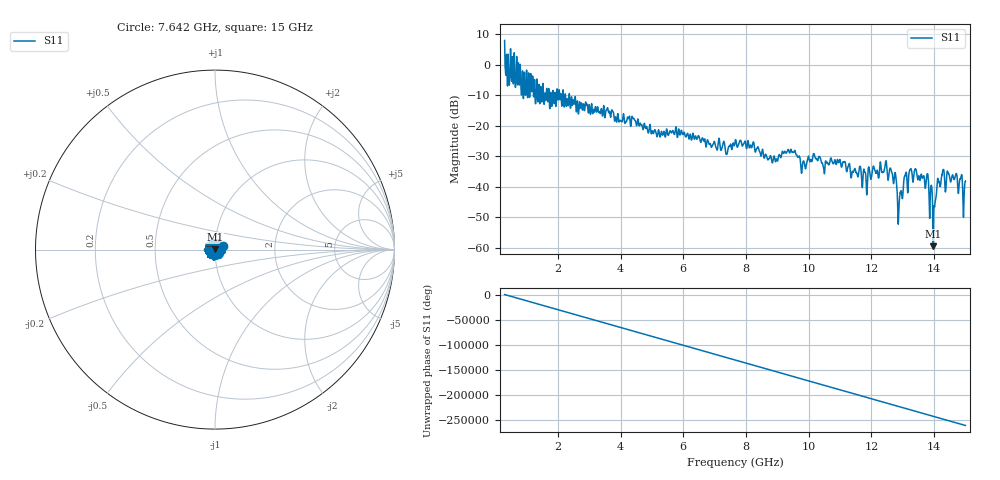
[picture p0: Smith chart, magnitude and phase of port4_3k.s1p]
# GHZ S RI R 50.0
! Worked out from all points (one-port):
!   12801 points, 300 MHz to 15 GHz, reference 50 ohm
!   lowest |S11| = -59.4 dB at 13.97 GHz (marker M1), VSWR 1.00, Z = 50.1 + j0.0772 ohm
!   |S11| at or under -10 dB: 2.174 GHz to 2.23 GHz (56.14 MHz wide, 2.55 % of centre); 2.242 GHz to 2.356 GHz (114.5 MHz wide, 4.98 % of centre); 2.371 GHz to end of sweep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
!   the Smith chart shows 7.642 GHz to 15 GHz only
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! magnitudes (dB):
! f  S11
! 300 MHz  8.0
! 391.9 MHz  -6.9
! 741 MHz  0.2
! 899.5 MHz  -11.0
! 2.138 GHz  -12.8
! 3.975 GHz  -18.2
! 5.208 GHz  -21.3
! 5.812 GHz  -23.8
! 7.398 GHz  -29.2
! 7.65 GHz  -25.4
! 8.888 GHz  -30.0
! 9.488 GHz  -28.6
! 9.827 GHz  -31.5
! 10.19 GHz  -30.0
! 11.32 GHz  -34.3
! 11.8 GHz  -35.2
! 12.44 GHz  -32.9
! 12.73 GHz  -37.3
! 12.9 GHz  -43.2
! 13.07 GHz  -36.5
! 13.16 GHz  -41.8
! 13.75 GHz  -38.4
! 13.97 GHz  -59.4
! 14.02 GHz  -46.0
! 14.11 GHz  -38.0
! 14.27 GHz  -35.1
! 14.66 GHz  -37.0
! 15 GHz  -38.2
